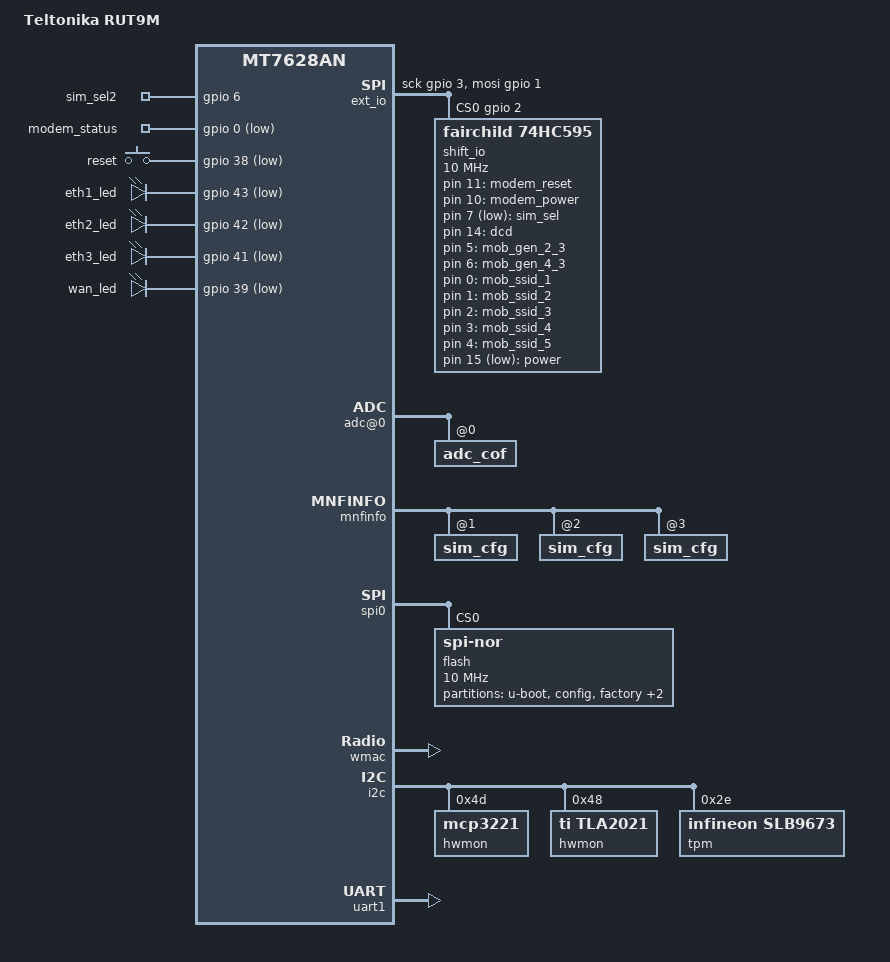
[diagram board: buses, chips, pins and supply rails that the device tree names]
// SPDX-License-Identifier: GPL-2.0-or-later OR MIT
/dts-v1/;

#include <dt-bindings/input/input.h>
#include <dt-bindings/gpio/gpio.h>
#include "mt7628an.dtsi"
#include "platform_name.dtsi"

/ {
	compatible = "teltonika,rut9m", "mediatek,mt7628an-soc";
	model = "Teltonika RUT9M";

	chosen {
		bootargs = "console=ttyS0,115200 root=/dev/mtdblock5";
	};

	ext_io {
		compatible = "spi-gpio";
		#address-cells = <1>;
		#size-cells = <0>;

		gpio-sck = <&gpio 3 GPIO_ACTIVE_HIGH>;  // SRCLK
		gpio-mosi = <&gpio 1 GPIO_ACTIVE_HIGH>; // SER
		cs-gpios = <&gpio 2 GPIO_ACTIVE_HIGH>;  // RCLK
		num-chipselects = <1>;

		shift_io: shift_io@0 {
			compatible = "fairchild,74hc595";
			reg = <0>;
			gpio-controller;
			#gpio-cells = <2>;
			registers-number = <2>;
			spi-max-frequency = <10000000>;
		};
	};

	gpio-export {
		compatible = "gpio-export";
		#size-cells = <0>;

		gpio_modem_reset {
			gpio-export,name = "modem_reset";
			gpio-export,output = <0>;
			gpios = <&shift_io 11 GPIO_ACTIVE_HIGH>;
		};

		gpio_modem_power {
			gpio-export,name = "modem_power";
			gpio-export,output = <0>;
			gpios = <&shift_io 10 GPIO_ACTIVE_HIGH>;
		};

		gpio_sim_select {
			gpio-export,name = "sim_sel";
			gpio-export,output = <1>;
			gpios = <&shift_io 7 GPIO_ACTIVE_LOW>;
		};

		gpio_sim_select_2 {
			gpio-export,name = "sim_sel2";
			gpio-export,output = <0>;
			gpios = <&gpio 6 GPIO_ACTIVE_HIGH>;
		};

		gpio_modem_status { // From v5
			gpio-export,name = "modem_status";
			gpio-export,input = <0>;
			gpios = <&gpio 0 GPIO_ACTIVE_LOW>;
		};

		gpio_dcd {
			gpio-export,name = "dcd";
			gpio-export,output = <0>;
			gpios = <&shift_io 14 GPIO_ACTIVE_HIGH>;
		};
	};

	keys {
		compatible = "gpio-keys";

		reset {
			label = "reset";
			linux,code = <KEY_RESTART>;
			gpios = <&gpio 38 GPIO_ACTIVE_LOW>;
			debounce-interval = <60>;
		};
	};

	leds {
		compatible = "gpio-leds";

		eth1_led {
			label = "eth1_led";
			gpios = <&gpio 43 GPIO_ACTIVE_LOW>;
		};

		eth2_led {
			label = "eth2_led";
			gpios = <&gpio 42 GPIO_ACTIVE_LOW>;
		};

		eth3_led {
			label = "eth3_led";
			gpios = <&gpio 41 GPIO_ACTIVE_LOW>;
		};

		wan_led {
			label = "wan_led";
			gpios = <&gpio 39 GPIO_ACTIVE_LOW>;
		};

		led_gen_2_3 {
			label = "mob_gen_2_3";
			gpios = <&shift_io 5 GPIO_ACTIVE_HIGH>;
		};

		led_gen_4_3 {
			label = "mob_gen_4_3";
			gpios = <&shift_io 6 GPIO_ACTIVE_HIGH>;
		};

		led_ssid_1 {
			label = "mob_ssid_1";
			gpios = <&shift_io 0 GPIO_ACTIVE_HIGH>;
			linux,default-trigger = "timer";
		};

		led_ssid_2 {
			label = "mob_ssid_2";
			gpios = <&shift_io 1 GPIO_ACTIVE_HIGH>;
			linux,default-trigger = "timer";
		};

		led_ssid_3 {
			label = "mob_ssid_3";
			gpios = <&shift_io 2 GPIO_ACTIVE_HIGH>;
			linux,default-trigger = "timer";
		};

		led_ssid_4 {
			label = "mob_ssid_4";
			gpios = <&shift_io 3 GPIO_ACTIVE_HIGH>;
			linux,default-trigger = "timer";
		};

		led_ssid_5 {
			label = "mob_ssid_5";
			gpios = <&shift_io 4 GPIO_ACTIVE_HIGH>;
			linux,default-trigger = "timer";
		};

		led_power {
			label = "power";
			gpios = <&shift_io 15 GPIO_ACTIVE_LOW>;
			default-state = "on";
			retain-state-shutdown;
		};
	};

	tlt_gpios { // Modify according to wiki page "DTS syntax with Libgpiod changes"
		gpiochip_info {
			hw_0 {
				hwver = <0>;
				gpiochip_count = <4>;

				gpiochip_0 = <32>; // Built-in
				gpiochip_1 = <32>; // Built-in
				gpiochip_2 = <32>; // Built-in
				gpiochip_3 = <16>; // Shift Register
			};
		};

		ioman {
			GPIO_40 {
				line_name = "GPIO_IN_1";
				active_low;
			};
			GPIO_108 {
				line_name = "GPIO_OUT_1";
			};
			GPIO_11 {
				compatible_model_0 = "RUT906", "RUT956";
				line_name_0 = "GPIO_ISOLATED_INPUT";

				compatible_model_1 = "RUT951";
				compatible_branch_1 = "A";
				line_name_1 = "GPIO_T2P_SIGNAL";

				active_low;
			};
			GPIO_37 {
				compatible_model_0 = "RUT906", "RUT956";
				line_name_0 = "GPIO_IN_2";

				compatible_model_1 = "RUT951";
				compatible_branch_1 = "A";
				line_name_1 = "GPIO_4PIN_SIGNAL";

				active_low;
			};
			GPIO_104 {
				compatible_model = "RUT906", "RUT956";
				line_name = "GPIO_OUT_2";
			};
			GPIO_105 {
				compatible_model = "RUT906", "RUT956";
				line_name = "GPIO_RELAY_CLOSE_1";
			};
		};

		misc {
			GPIO_0 {
				compatible_model_0 = "RUT901", "RUT906", "RUT951", "RUT956";
				compatible_versions_0 = <5 99>;
				line_name_0 = "GPIO_MODEM_STATUS";

				compatible_model_1 = "RUT951";
				compatible_versions_1 = <0 99>;
				compatible_branch_1 = "A";
				line_name_1 = "GPIO_MODEM_STATUS";

				active_low;
			};
			GPIO_106 {
				line_name = "GPIO_MODEM_POWER_1";
			};
			GPIO_107 {
				line_name = "GPIO_MODEM_RESET_1";
			};
			GPIO_103 {
				line_name = "GPIO_SIM_SELECT";
				active_low;
			};
			GPIO_6 {
				line_name = "GPIO_SIM_SELECT_2";
			};
			GPIO_44 {
				compatible_model_0 = "RUT906", "RUT956";
				line_name_0 = "GPIO_RS485_D_EN";

				compatible_model_1 = "RUT951";
				compatible_branch_1 = "A";
				line_name_1 = "TPM_RESET";
			};
			GPIO_46 {
				compatible_model = "RUT951";
				compatible_branch = "A";
				line_name = "PSE_RESET";
			};
			GPIO_109 {
				compatible_model = "RUT906", "RUT956";
				line_name = "GPIO_RS485_RX_EN";
			};
			GPIO_110 {
				line_name = "GPIO_DCD";
			};
		};
	};

	ioman {
		layout@0 {
			compatible = "RUT951,RUT901";

			io@0 { // 4pin #3
				label = "din1";
				block_type = BLOCK_4PIN;
				block_pin = "3";
				gpio_in = "GPIO_IN_1";
				io_param = "g0";
			};
			io@1 { // 4pin #4
				label = "dout1";
				block_type = BLOCK_4PIN;
				block_pin = "4";
				gpio_out = "GPIO_OUT_1";
				io_param = "g1";
			};
		};
		layout@1 {
			compatible = "RUT956,RUT906";

			io@0 { // 4pin #3
				label = "din1";
				block_type = BLOCK_4PIN;
				block_pin = "3";
				gpio_in = "GPIO_IN_1";
				io_param = "g2";
			};
			io@1 { // 4pin #4
				label = "dout1";
				block_type = BLOCK_4PIN;
				block_pin = "4";
				gpio_out = "GPIO_OUT_1";
				io_param = "g4";
			};
			io@2 { // 10pin#1
				label = "din2";
				block_type = BLOCK_10PIN;
				block_pin = "1";
				web_str = "Digital Input";
				gpio_in = "GPIO_IN_2";
				io_param = "g3";
			};
			io@3 { // 10pin#2
				label = "iio";
				block_type = BLOCK_10PIN;
				block_pin = "2,7";
				gpio_in = "GPIO_ISOLATED_INPUT";
				io_param = "g6";
			};
			io@4 { // 10pin#3
				label = "dout2";
				block_type = BLOCK_10PIN;
				block_pin = "3,4,8";
				web_str = "Isolated Output";
				gpio_out = "GPIO_OUT_2";
				io_param = "g5";
			};
			relay@0 {
				label = "relay0";
				block_type = BLOCK_10PIN;
				block_pin = "5,10";
				gpio_close = "GPIO_RELAY_CLOSE_1";
				io_param = "g7";
			};
			adc@0 {
				label = "adc0";
				block_type = BLOCK_10PIN;
				block_pin = "6,9";
				tolerance = "0.05";
				path = "/sys/class/hwmon/hwmon0/device/in0_input";
				io_param = "g1";

				adc_cof@0 {
					divider = "128.160418482999"; //147.0 / 1147.0 * 1000.0
				};
			};
			acl@0 {
				label = "acl0";
				block_type = BLOCK_10PIN;
				block_pin = "6,9";
				tolerance = "0.00004";
				path = "/sys/class/hwmon/hwmon0/device/in0_input";
				io_param = "g0";

				adc_cof@0 {
					divider = "153792.502179599"; //147.0 / 1147.0 * 1000.0 * 1200.0
				};
			};
		};
	};

	poeman {
		tlt-mnf,branch = "A";
		bus = "/dev/i2c-0";
		pse_en = "PSE_RESET";
		adc {
			modem_port = <0>;
			divider = "61.79";
		};
		budget@0 {
			GPIO_4PIN_SIGNAL = <0>;
			adc_max = <46>;
			budget = <0>;
		};
		budget@1 {
			GPIO_4PIN_SIGNAL = <0>;
			adc_min = <46>;
			budget = <90000>;
			allowed_deficit = <2000>;
		};
		budget@2 {
			GPIO_4PIN_SIGNAL = <1>;
			GPIO_T2P_SIGNAL = <0>;
			budget = <0>;
		};
		budget@3 {
			GPIO_4PIN_SIGNAL = <1>;
			GPIO_T2P_SIGNAL = <1>;
			budget = <15000>;
			allowed_deficit = <300>;
			max_port_power = <7000>;
		};
	};
};

&mnfinfo {
	simpin1 {
		default = "";
		sec;
	};

	simpin2 {
		default = "";
		sec;
	};

	simpin3 {
		tlt-mnf,hwver = <600 9999>;
		default = "";
		sec;
	};

	sim_cfg {
		default = "2111000_2112000";
	};

	sim_cfg@1 {
		tlt-mnf,hwver = <500 599>;
		reg = <&config 0x110 0x20>;
		type = "simcfg";
		default = "2111010_2112010";
	};

	sim_cfg@2 {
		tlt-mnf,hwver = <600 9999>;
		reg = <&config 0x110 0x20>;
		type = "simcfg";
		default = "2111110_2112010_2121210";
	};

	sim_cfg@3 {
		tlt-mnf,device = "RUT901*1****";
		reg = <&config 0x110 0x20>;
		type = "simcfg";
		default = "2121000_2112000";
	};

};

&state_default {
	gpio {
		groups = "i2s", "p4led_an", "p3led_an", "p2led_an", "p1led_an", "p0led_an", "gpio", "wled_an", "perst", "refclk", "spi cs1";
		function = "gpio";
	};
};

&spi0 {
	status = "okay";

	flash@0 {
		compatible = "jedec,spi-nor";
		reg = <0>;
		spi-max-frequency = <10000000>;

		partitions {
			compatible = "fixed-partitions";
			#address-cells = <1>;
			#size-cells = <1>;

			boot: boot: partition@0 {
				label = "u-boot";
				reg = <0x0 0x20000>;
				read-only;
			};

			config: partition@20000 {
				compatible = "nvmem-cells";
				#address-cells = <1>;
				#size-cells = <1>;

				label = "config";
				reg = <0x020000 0x010000>;
				read-only;

				macaddr_config_0: macaddr@0 {
					reg = <0x0 0x6>;
				};
			};

			factory: partition@30000 {
				label = "factory";
				reg = <0x030000 0x030000>;
				read-only;
			};

			partition@60000 {
				compatible = "denx,uimage";
				label = "firmware";
				reg = <0x060000 0xf10000>;
//				reg = <0x060000 0x1f00000>; //32M
//				reg = <0x060000 0x3f00000>; //64M
			};

			partition@f70000 {
				label = "event-log";
				reg = <0xf70000 0x90000>;
//				reg = <0x1f60000 0xA0000>; //32M
//				reg = <0x3f60000 0xA0000>; //64M
			};
		};
	};
};

&wmac {
	status = "okay";
	nvmem-cells = <&macaddr_config_0>;
	nvmem-cell-names = "mac-address";
	mac-address-increment = <2>;
	mediatek,mtd-eeprom = <&factory 0x20000>;
};

&ethernet {
	nvmem-cells = <&macaddr_config_0>;
	nvmem-cell-names = "mac-address";
};

&esw {
	mediatek,portmap = <0x2f>;
};

&i2c {
	status = "okay";
	hwmon@0x4d {
		compatible = "mcp3221";
		reg = <0x4d>;
		reference-voltage-microvolt = <3300000>;
	};

	hwmon@0x48 {
		compatible = "ti,tla2021";
		reg = <0x48>;
	};

	tpm@2e {
		compatible = "infineon,slb9673", "st,st33htpm-i2c";
		reg = <0x2e>;
		status = "okay";
	};
};

&uart1 {
	linux,rs485-enabled-at-boot-time;
	rs485-rts-delay = <0 0>;
	rs485-rx-during-tx;
	status = "okay";
};
